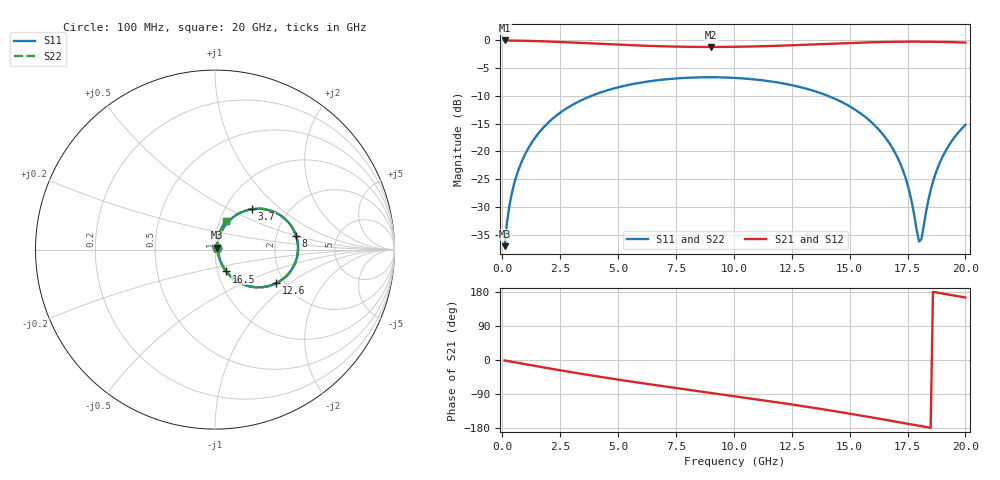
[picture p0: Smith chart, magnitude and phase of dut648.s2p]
! Touchstone file exported from HFSS 2026.1.0
!  File:  C:/ffzhzh/LocalFiles/Ansys_Project_Files/temp_train_TSV_RDL_648_1783128861_46604.aedt
!  Generated:  09:43:28 AM Jul  4, 2026
!  Design:  TSV_RDL
!  Project:  temp_train_TSV_RDL_648_1783128861_46604
! Variables:
!  h_bsmrdl = 4.63um
!  h_ox = 20um
!  h_rdl = 5um
!  h_sub = 99.94um
!  h_tmrdl = 5.08um
!  h_tsv = 99.94um
!  h_via = 3um
!  l_bsmrdl = 458.88um
!  l_sub = 2929.72um
!  l_tmrdl = 256.83um
!  m_sub = 200um
!  pitch = 55.33um
!  r_tsv = 14.11um
!  s_tmrdl = 10um
!  w_bsmrdl = 20.36um
!  w_sub = 500um
!  w_tmrdl = 21.56um
!  x_tsv_center1 = 267.61um
!  x_tsv_center2 = 746.85um
!  x_tsv_center3 = 1025.24um
!  x_tsv_center4 = 1504.48um
!  x_tsv_center5 = 1782.87um
!  x_tsv_center6 = 2262.11um
# GHz S MA R 50.000000
! Terminal data exported
! Port[1] = TM_RDL1_1_T1
! Port[2] = TM_RDL5_1_T1
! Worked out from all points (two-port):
!   200 points, 100 MHz to 20 GHz, reference 50 ohm
!   highest |S21| = -0.08 dB at 100 MHz (marker M1); lowest = -1.3 dB at 9 GHz (marker M2)
!   |S21| within 3 dB of the highest: start of sweep to end of sweep
!   lowest |S11| = -37.0 dB at 100 MHz (marker M3), VSWR 1.03, Z = 51 + j1.03 ohm
!   |S11| at or under -10 dB: start of sweep to 3.866 GHz; 14.05 GHz to end of sweep
!   |S22| runs from -37.0 to -6.7 dB; largest |S21 - S12| = 4.2e-14
!   S11 on the Smith chart (normalised r, x): 100 MHz: 1.02, +0.02; 3.7 GHz: 1.33, +0.66; 8 GHz: 2.57, +0.51; 12.6 GHz: 1.81, -0.80; 16.5 GHz: 1.10, -0.27; 20 GHz: 1.07, +0.36
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0.1  0.01411 45.7  0.9903 -1.2  0.9903 -1.2  0.01411 45.7
! Gamma 0 0 0 0
! Port Impedance 50 0 50 0
0.3  0.03177 66.9  0.9888 -3.4  0.9888 -3.4  0.03177 66.9
0.5  0.05004 71.1  0.9873 -5.6  0.9873 -5.6  0.05005 71.1
1.1  0.1046 70.8  0.9817 -12.2  0.9817 -12.2  0.1046 70.8
2.1  0.1908 62.6  0.967 -23.0  0.967 -23.0  0.1908 62.6
3.5  0.2935 49.3  0.9386 -37.3  0.9386 -37.3  0.2935 49.3
3.7  0.3061 47.4  0.9343 -39.3  0.9343 -39.3  0.3061 47.4
6.8  0.4376 19.9  0.8788 -67.9  0.8788 -67.9  0.4376 19.8
8  0.458 9.8  0.8683 -78.2  0.8683 -78.2  0.458 9.8
9  0.463 1.6  0.8655 -86.7  0.8655 -86.7  0.463 1.6
10.1  0.456 -7.5  0.8687 -96.1  0.8687 -96.1  0.456 -7.5
12.6  0.3893 -28.7  0.8977 -118.3  0.8977 -118.3  0.3892 -28.7
13.4  0.3521 -35.8  0.9114 -125.8  0.9114 -125.8  0.3521 -35.8
15.2  0.2397 -52.1  0.9429 -143.6  0.9429 -143.6  0.2397 -52.2
16.5  0.1369 -62.8  0.9598 -157.3  0.9598 -157.3  0.1368 -62.8
16.7  0.1199 -64.0  0.9616 -159.5  0.9616 -159.5  0.1198 -64.0
17.5  0.05058 -62.3  0.9658 -168.1  0.9658 -168.1  0.05053 -62.4
18  0.01553 -6.5  0.966 -173.6  0.966 -173.6  0.01544 -6.4
18.1  0.01637 25.3  0.9658 -174.7  0.9658 -174.7  0.0163 25.5
18.4  0.03649 65.9  0.9647 -177.9  0.9647 -177.9  0.03648 66.1
18.8  0.07078 73.9  0.9622 177.7  0.9622 177.7  0.07079 74.0
20  0.1732 68.7  0.948 164.8  0.948 164.8  0.1732 68.7
